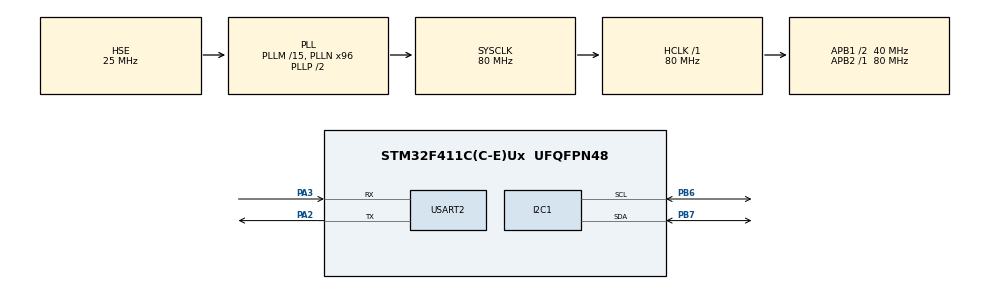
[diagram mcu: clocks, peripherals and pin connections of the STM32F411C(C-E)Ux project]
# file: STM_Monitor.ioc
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Mcu.Family=STM32F4
Mcu.Name=STM32F411C(C-E)Ux
Mcu.Package=UFQFPN48
NVIC.PriorityGroup=NVIC_PRIORITYGROUP_4
NVIC.TIM1_TRG_COM_TIM11_IRQn=true\:0\:0\:false\:false\:true\:true\:true\:true
PA13.Mode=Serial_Wire
PA13.Signal=SYS_JTMS-SWDIO
PA14.Mode=Serial_Wire
PA14.Signal=SYS_JTCK-SWCLK
PA2.Mode=Asynchronous
PA2.Signal=USART2_TX
PA3.Mode=Asynchronous
PA3.Signal=USART2_RX
PB6.Mode=I2C
PB6.Signal=I2C1_SCL
PB7.Mode=I2C
PB7.Signal=I2C1_SDA
PH0\ -\ OSC_IN.Mode=HSE-External-Oscillator
PH0\ -\ OSC_IN.Signal=RCC_OSC_IN
PH1\ -\ OSC_OUT.Mode=HSE-External-Oscillator
PH1\ -\ OSC_OUT.Signal=RCC_OSC_OUT
ProjectManager.HeapSize=0x200
ProjectManager.StackSize=0x400
ProjectManager.TargetToolchain=STM32CubeIDE
RCC.48MHZClocksFreq_Value=40000000
RCC.AHBFreq_Value=80000000
RCC.APB1CLKDivider=RCC_HCLK_DIV2
RCC.APB1Freq_Value=40000000
RCC.APB1TimFreq_Value=80000000
RCC.APB2Freq_Value=80000000
RCC.APB2TimFreq_Value=80000000
RCC.CortexFreq_Value=80000000
RCC.HCLKFreq_Value=80000000
RCC.HSE_VALUE=25000000
RCC.HSI_VALUE=16000000
RCC.LSE_VALUE=32768
RCC.PLLM=15
RCC.PLLN=96
RCC.PLLSourceVirtual=RCC_PLLSOURCE_HSE
RCC.SYSCLKFreq_VALUE=80000000
RCC.SYSCLKSource=RCC_SYSCLKSOURCE_PLLCLK
RCC.VCOOutputFreq_Value=160000000
TIM11.Prescaler=640
USART2.VirtualMode=VM_ASYNC
VP_TIM11_VS_ClockSourceINT.Mode=Enable_Timer
board=custom

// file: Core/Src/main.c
/* USER CODE BEGIN Header */
/**
  ******************************************************************************
  * @file           : main.c
  * @brief          : Main program body
  ******************************************************************************
  * @attention
  *
  * Copyright (c) 2026 STMicroelectronics.
  * All rights reserved.
  *
  * This software is licensed under terms that can be found in the LICENSE file
  * in the root directory of this software component.
  * If no LICENSE file comes with this software, it is provided AS-IS.
  *
  ******************************************************************************
  */
/* USER CODE END Header */
#include "main.h"

/* USER CODE BEGIN Includes */

#include "Statechart.h"
#include "ssd1306.h"
#include "ssd1306_fonts.h"

#include "stm32f4xx.h"
#include <stdio.h>
/* USER CODE END Includes */

/* USER CODE BEGIN PD */

#define SHT31_ADDR            (0x44 << 1)   // 7-bit addr 0x44, shifted for HAL
static const uint8_t CMD_MEASURE_TEMP[]     = {0x2C, 0x06};  // high repeatability

float temperature = 0.0f;
float humidity = 0.0f;
volatile uint8_t rtc_alarm_flag = 0;

/* USER CODE END PD */

I2C_HandleTypeDef hi2c1;

TIM_HandleTypeDef htim11;

UART_HandleTypeDef huart2;

/* USER CODE BEGIN PV */

//volatile uint8_t rtc_alarm_flag = 1;
Statechart sc_handle;
/* USER CODE END PV */

void SystemClock_Config(void);
static void MX_GPIO_Init(void);
static void MX_I2C1_Init(void);
static void MX_TIM11_Init(void);
static void MX_USART2_UART_Init(void);

/* USER CODE BEGIN 0 */

void gosleep(Statechart* handle){

}

void HAL_TIM_PeriodElapsedCallback(TIM_HandleTypeDef *htim)
{
    if (htim->Instance == TIM11) {
    	//statechart_raise_ev_RTC_Alarm(&sc_handle);

    	rtc_alarm_flag = 1;
    }

}

void SHT31_ReadTempHumidity(float* temp, float* humidity)
{
    uint8_t data[6];
    uint16_t temp_raw, humidity_raw;

    if (HAL_I2C_Master_Transmit(&hi2c1, SHT31_ADDR, (uint8_t *)CMD_MEASURE_TEMP, 2, 100) != HAL_OK) {
        return;
    }
    //HAL_Delay(5);

    if (HAL_I2C_Master_Receive(&hi2c1, SHT31_ADDR, data, 6, 100) != HAL_OK) {
        return;
    }

    temp_raw     = (data[0] << 8) | data[1];
    humidity_raw = (data[3] << 8) | data[4];

    *temp = -45.0f + 175.0f * ((float)temp_raw / 65535.0f);
    *humidity = 100.0f * ((float)humidity_raw / 65535.0f);
}

void statechart_goSleep( Statechart* handle)
{
	//gosleep();
}

void statechart_readI2CSensor( Statechart* handle)
{

    SHT31_ReadTempHumidity(&temperature, &humidity);
}

void statechart_displayInfo(Statechart* handle)
{

	char buffer[20];
	ssd1306_Fill(Black);

	// Row 1: Temperature
	ssd1306_SetCursor(0, 5);
	snprintf(buffer, sizeof(buffer), "Temp: %.1f C", temperature);
	ssd1306_WriteString(buffer, Font_6x8, White);

	// Row 2: Humidity
	ssd1306_SetCursor(0, 20);
	snprintf(buffer, sizeof(buffer), "Hum:  %.1f %%", humidity);
	ssd1306_WriteString(buffer, Font_6x8, White);

	ssd1306_UpdateScreen();

}

void statechart_processData( Statechart* handle)
{
//HAL_GPIO_WritePin(RGB_LD1_GPIO_Port,RGB_LD1_Pin,GPIO_PIN_SET);
}

/* USER CODE END 0 */

int main(void)
{

  /* MCU Configuration--------------------------------------------------------*/

  /* Reset of all peripherals, Initializes the Flash interface and the Systick. */
  HAL_Init();

  /* Configure the system clock */
  SystemClock_Config();

  /* Initialize all configured peripherals */
  MX_GPIO_Init();
  MX_I2C1_Init();
  MX_TIM11_Init();
  MX_USART2_UART_Init();
  /* USER CODE BEGIN 2 */

  statechart_init(&sc_handle);
  statechart_enter(&sc_handle);
  HAL_TIM_Base_Start_IT(&htim11);
  ssd1306_Init();

/*	char buffer[20];
	ssd1306_Fill(Black);

	// Row 1: Temperature
	ssd1306_SetCursor(0, 5);
	snprintf(buffer, sizeof(buffer), "Temp: %.1f C", temperature);
	ssd1306_WriteString(buffer, Font_6x8, White);

	// Row 2: Humidity
	ssd1306_SetCursor(0, 20);
	snprintf(buffer, sizeof(buffer), "Hum:  %.1f %%", humidity);
	ssd1306_WriteString(buffer, Font_6x8, White);

	ssd1306_UpdateScreen();*/

  /* USER CODE END 2 */

  /* Infinite loop */
  /* USER CODE BEGIN WHILE */
  while (1)
  {

//		SHT31_ReadTempHumidity(&temperature, &humidity);
//		statechart_displayInfo(temperature, humidity);
//		HAL_Delay(1000);

	  if (rtc_alarm_flag)
	      {
	          rtc_alarm_flag = 0;
	          statechart_raise_ev_RTC_Alarm(&sc_handle);
	      }

    /* USER CODE END WHILE */

  }
}

void SystemClock_Config(void)
{
  RCC_OscInitTypeDef RCC_OscInitStruct = {0};
  RCC_ClkInitTypeDef RCC_ClkInitStruct = {0};

  /** Configure the main internal regulator output voltage
  */
  __HAL_RCC_PWR_CLK_ENABLE();
  __HAL_PWR_VOLTAGESCALING_CONFIG(PWR_REGULATOR_VOLTAGE_SCALE1);

  /** Initializes the RCC Oscillators according to the specified parameters
  * in the RCC_OscInitTypeDef structure.
  */
  RCC_OscInitStruct.OscillatorType = RCC_OSCILLATORTYPE_HSE;
  RCC_OscInitStruct.HSEState = RCC_HSE_ON;
  RCC_OscInitStruct.PLL.PLLState = RCC_PLL_ON;
  RCC_OscInitStruct.PLL.PLLSource = RCC_PLLSOURCE_HSE;
  RCC_OscInitStruct.PLL.PLLM = 15;
  RCC_OscInitStruct.PLL.PLLN = 96;
  RCC_OscInitStruct.PLL.PLLP = RCC_PLLP_DIV2;
  RCC_OscInitStruct.PLL.PLLQ = 4;
  if (HAL_RCC_OscConfig(&RCC_OscInitStruct) != HAL_OK)
  {
    Error_Handler();
  }

  /** Initializes the CPU, AHB and APB buses clocks
  */
  RCC_ClkInitStruct.ClockType = RCC_CLOCKTYPE_HCLK|RCC_CLOCKTYPE_SYSCLK
                              |RCC_CLOCKTYPE_PCLK1|RCC_CLOCKTYPE_PCLK2;
  RCC_ClkInitStruct.SYSCLKSource = RCC_SYSCLKSOURCE_PLLCLK;
  RCC_ClkInitStruct.AHBCLKDivider = RCC_SYSCLK_DIV1;
  RCC_ClkInitStruct.APB1CLKDivider = RCC_HCLK_DIV2;
  RCC_ClkInitStruct.APB2CLKDivider = RCC_HCLK_DIV1;

  if (HAL_RCC_ClockConfig(&RCC_ClkInitStruct, FLASH_LATENCY_2) != HAL_OK)
  {
    Error_Handler();
  }
}

static void MX_I2C1_Init(void)
{

  hi2c1.Instance = I2C1;
  hi2c1.Init.ClockSpeed = 100000;
  hi2c1.Init.DutyCycle = I2C_DUTYCYCLE_2;
  hi2c1.Init.OwnAddress1 = 0;
  hi2c1.Init.AddressingMode = I2C_ADDRESSINGMODE_7BIT;
  hi2c1.Init.DualAddressMode = I2C_DUALADDRESS_DISABLE;
  hi2c1.Init.OwnAddress2 = 0;
  hi2c1.Init.GeneralCallMode = I2C_GENERALCALL_DISABLE;
  hi2c1.Init.NoStretchMode = I2C_NOSTRETCH_DISABLE;
  if (HAL_I2C_Init(&hi2c1) != HAL_OK)
  {
    Error_Handler();
  }

}

static void MX_TIM11_Init(void)
{

  htim11.Instance = TIM11;
  htim11.Init.Prescaler = 640;
  htim11.Init.CounterMode = TIM_COUNTERMODE_UP;
  htim11.Init.Period = 65535;
  htim11.Init.ClockDivision = TIM_CLOCKDIVISION_DIV1;
  htim11.Init.AutoReloadPreload = TIM_AUTORELOAD_PRELOAD_DISABLE;
  if (HAL_TIM_Base_Init(&htim11) != HAL_OK)
  {
    Error_Handler();
  }

}

static void MX_USART2_UART_Init(void)
{

  huart2.Instance = USART2;
  huart2.Init.BaudRate = 115200;
  huart2.Init.WordLength = UART_WORDLENGTH_8B;
  huart2.Init.StopBits = UART_STOPBITS_1;
  huart2.Init.Parity = UART_PARITY_NONE;
  huart2.Init.Mode = UART_MODE_TX_RX;
  huart2.Init.HwFlowCtl = UART_HWCONTROL_NONE;
  huart2.Init.OverSampling = UART_OVERSAMPLING_16;
  if (HAL_UART_Init(&huart2) != HAL_OK)
  {
    Error_Handler();
  }

}

static void MX_GPIO_Init(void)
{
  GPIO_InitTypeDef GPIO_InitStruct = {0};

  /* GPIO Ports Clock Enable */
  __HAL_RCC_GPIOC_CLK_ENABLE();
  __HAL_RCC_GPIOH_CLK_ENABLE();
  __HAL_RCC_GPIOA_CLK_ENABLE();
  __HAL_RCC_GPIOB_CLK_ENABLE();

  /*Configure GPIO pins : PC13 PC14 PC15 */
  GPIO_InitStruct.Pin = GPIO_PIN_13|GPIO_PIN_14|GPIO_PIN_15;
  GPIO_InitStruct.Mode = GPIO_MODE_ANALOG;
  GPIO_InitStruct.Pull = GPIO_NOPULL;
  HAL_GPIO_Init(GPIOC, &GPIO_InitStruct);

  /*Configure GPIO pins : PA0 PA1 PA4 PA5
                           PA6 PA7 PA8 PA9
                           PA10 PA11 PA12 PA15 */
  GPIO_InitStruct.Pin = GPIO_PIN_0|GPIO_PIN_1|GPIO_PIN_4|GPIO_PIN_5
                          |GPIO_PIN_6|GPIO_PIN_7|GPIO_PIN_8|GPIO_PIN_9
                          |GPIO_PIN_10|GPIO_PIN_11|GPIO_PIN_12|GPIO_PIN_15;
  GPIO_InitStruct.Mode = GPIO_MODE_ANALOG;
  GPIO_InitStruct.Pull = GPIO_NOPULL;
  HAL_GPIO_Init(GPIOA, &GPIO_InitStruct);

  /*Configure GPIO pins : PB0 PB1 PB2 PB10
                           PB12 PB13 PB14 PB15
                           PB3 PB4 PB5 PB8
                           PB9 */
  GPIO_InitStruct.Pin = GPIO_PIN_0|GPIO_PIN_1|GPIO_PIN_2|GPIO_PIN_10
                          |GPIO_PIN_12|GPIO_PIN_13|GPIO_PIN_14|GPIO_PIN_15
                          |GPIO_PIN_3|GPIO_PIN_4|GPIO_PIN_5|GPIO_PIN_8
                          |GPIO_PIN_9;
  GPIO_InitStruct.Mode = GPIO_MODE_ANALOG;
  GPIO_InitStruct.Pull = GPIO_NOPULL;
  HAL_GPIO_Init(GPIOB, &GPIO_InitStruct);

}

void Error_Handler(void)
{
  __disable_irq();
  while (1)
  {
  }
}
